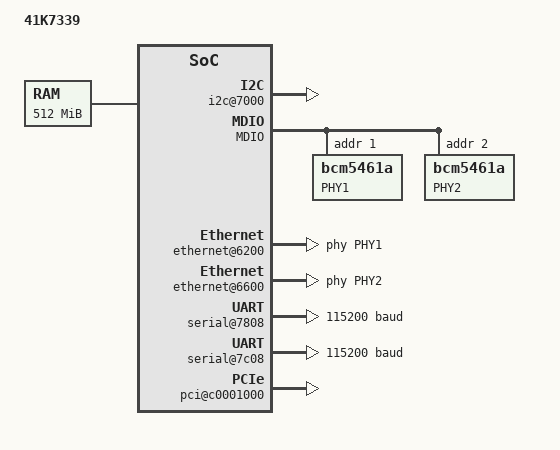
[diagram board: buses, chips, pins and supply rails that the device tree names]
/*
 * Device Tree Source for IBM Holly (PPC 750CL with TSI controller)
 * Copyright 2007, IBM Corporation
 *
 * Stephen Winiecki <stevewin@us.ibm.com>
 * Josh Boyer <jwboyer@linux.vnet.ibm.com>
 *
 * This file is licensed under the terms of the GNU General Public
 * License version 2.  This program is licensed "as is" without
 * any warranty of any kind, whether express or implied.
 */

/dts-v1/;

/ {
	model = "41K7339";
	compatible = "ibm,holly";
	#address-cells = <1>;
	#size-cells = <1>;

	cpus {
		#address-cells = <1>;
		#size-cells =<0>;
		PowerPC,750CL@0 {
			device_type = "cpu";
			reg = <0x00000000>;
			d-cache-line-size = <32>;
			i-cache-line-size = <32>;
			d-cache-size = <32768>;
			i-cache-size = <32768>;
			d-cache-sets = <128>;
			i-cache-sets = <128>;
			timebase-frequency = <50000000>;
			clock-frequency = <600000000>;
			bus-frequency = <200000000>;
		};
	};

	memory@0 {
		device_type = "memory";
		reg = <0x00000000 0x20000000>;
	};

  	tsi109@c0000000 {
		device_type = "tsi-bridge";
		compatible = "tsi109-bridge", "tsi108-bridge";
		#address-cells = <1>;
		#size-cells = <1>;
		ranges = <0x00000000 0xc0000000 0x00010000>;
		reg = <0xc0000000 0x00010000>;

		i2c@7000 {
			device_type = "i2c";
			compatible  = "tsi109-i2c", "tsi108-i2c";
			interrupt-parent = <&MPIC>;
			interrupts = <0xe 0x2>;
			reg = <0x00007000 0x00000400>;
		};

		MDIO: mdio@6000 {
			compatible = "tsi109-mdio", "tsi108-mdio";
			reg = <0x00006000 0x00000050>;
			#address-cells = <1>;
			#size-cells = <0>;

			PHY1: ethernet-phy@1 {
				compatible = "bcm5461a";
				reg = <0x00000001>;
				txc-rxc-delay-disable;
			};

			PHY2: ethernet-phy@2 {
				compatible = "bcm5461a";
				reg = <0x00000002>;
				txc-rxc-delay-disable;
			};
		};

		ethernet@6200 {
			device_type = "network";
			compatible = "tsi109-ethernet", "tsi108-ethernet";
			#address-cells = <1>;
			#size-cells = <0>;
			reg = <0x00006000 0x00000200>;
			local-mac-address = [ 00 00 00 00 00 00 ];
			interrupt-parent = <&MPIC>;
			interrupts = <0x10 0x2>;
			mdio-handle = <&MDIO>;
			phy-handle = <&PHY1>;
		};

		ethernet@6600 {
			device_type = "network";
			compatible = "tsi109-ethernet", "tsi108-ethernet";
			#address-cells = <1>;
			#size-cells = <0>;
			reg = <0x00006400 0x00000200>;
			local-mac-address = [ 00 00 00 00 00 00 ];
			interrupt-parent = <&MPIC>;
			interrupts = <0x11 0x2>;
			mdio-handle = <&MDIO>;
			phy-handle = <&PHY2>;
		};

		serial@7808 {
			device_type = "serial";
			compatible = "ns16550";
			reg = <0x00007808 0x00000200>;
			virtual-reg = <0xc0007808>;
			clock-frequency = <1067212800>;
			current-speed = <115200>;
			interrupt-parent = <&MPIC>;
			interrupts = <0xc 0x2>;
		};

		serial@7c08 {
			device_type = "serial";
			compatible = "ns16550";
			reg = <0x00007c08 0x00000200>;
			virtual-reg = <0xc0007c08>;
			clock-frequency = <1067212800>;
			current-speed = <115200>;
			interrupt-parent = <&MPIC>;
			interrupts = <0xd 0x2>;
		};

	  	MPIC: pic@7400 {
			device_type = "open-pic";
			compatible = "chrp,open-pic";
			interrupt-controller;
			#interrupt-cells = <2>;
			reg = <0x00007400 0x00000400>;
			big-endian;
		};
	};

	pci@c0001000 {
		device_type = "pci";
		compatible = "tsi109-pci", "tsi108-pci";
		#interrupt-cells = <1>;
		#size-cells = <2>;
		#address-cells = <3>;
		reg = <0xc0001000 0x00001000>;
		bus-range = <0x0 0x0>;
		/*----------------------------------------------------+
		| PCI memory range.
		| 01 denotes I/O space
		| 02 denotes 32-bit memory space
		+----------------------------------------------------*/
		ranges = <0x02000000 0x00000000 0x40000000 0x40000000 0x00000000 0x10000000
			  0x01000000 0x00000000 0x00000000 0x7e000000 0x00000000 0x00010000>;
		clock-frequency = <133333332>;
		interrupt-parent = <&MPIC>;
		interrupts = <0x17 0x2>;
		interrupt-map-mask = <0xf800 0x0 0x0 0x7>;
		/*----------------------------------------------------+
		| The INTA, INTB, INTC, INTD are shared.
		+----------------------------------------------------*/
		interrupt-map = <
			0x800 0x0 0x0 0x1 &RT0 0x24 0x0
			0x800 0x0 0x0 0x2 &RT0 0x25 0x0
			0x800 0x0 0x0 0x3 &RT0 0x26 0x0
			0x800 0x0 0x0 0x4 &RT0 0x27 0x0

			0x1000 0x0 0x0 0x1 &RT0 0x25 0x0
			0x1000 0x0 0x0 0x2 &RT0 0x26 0x0
			0x1000 0x0 0x0 0x3 &RT0 0x27 0x0
			0x1000 0x0 0x0 0x4 &RT0 0x24 0x0

			0x1800 0x0 0x0 0x1 &RT0 0x26 0x0
			0x1800 0x0 0x0 0x2 &RT0 0x27 0x0
			0x1800 0x0 0x0 0x3 &RT0 0x24 0x0
			0x1800 0x0 0x0 0x4 &RT0 0x25 0x0

			0x2000 0x0 0x0 0x1 &RT0 0x27 0x0
			0x2000 0x0 0x0 0x2 &RT0 0x24 0x0
			0x2000 0x0 0x0 0x3 &RT0 0x25 0x0
			0x2000 0x0 0x0 0x4 &RT0 0x26 0x0
			>;

		RT0: router@1180 {
			device_type = "pic-router";
			interrupt-controller;
			big-endian;
			clock-frequency = <0>;
			#address-cells = <0>;
			#interrupt-cells = <2>;
			interrupts = <0x17 0x2>;
			interrupt-parent = <&MPIC>;
		};
	};

	chosen {
		linux,stdout-path = "/tsi109@c0000000/serial@7808";
	};
};
